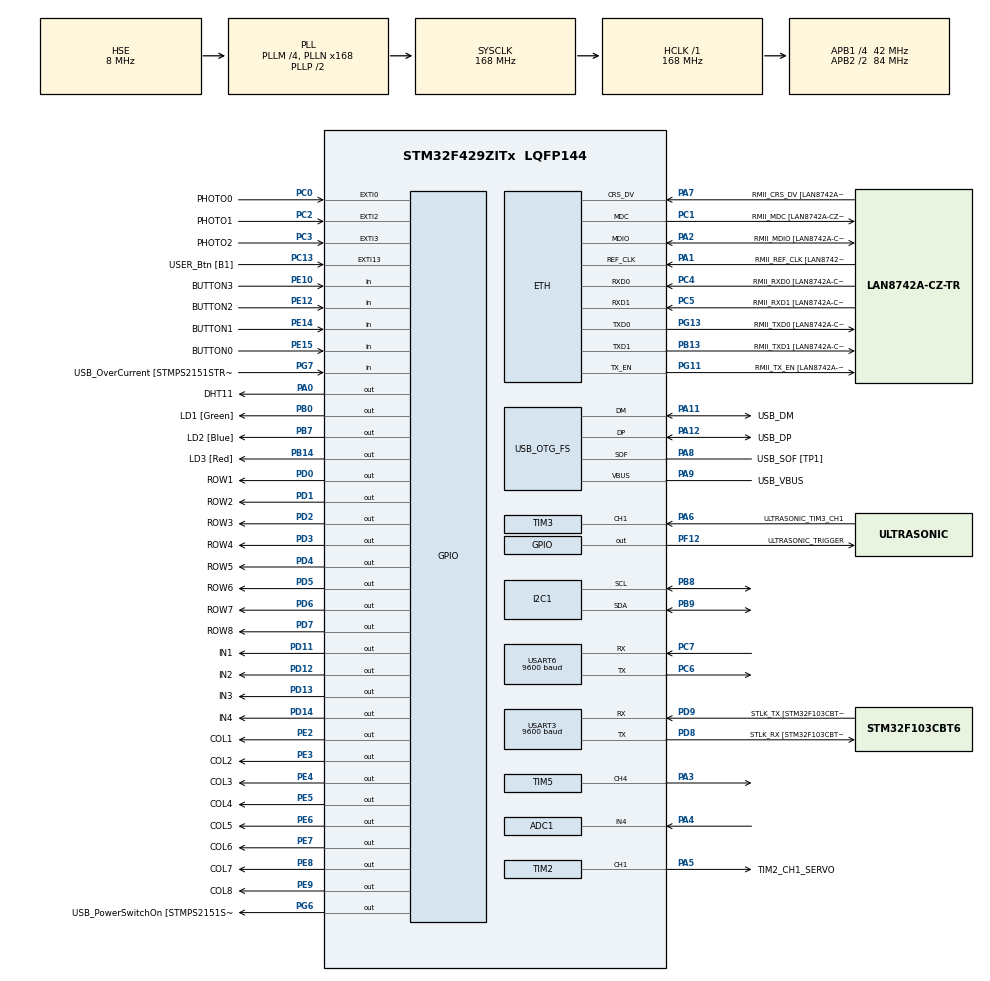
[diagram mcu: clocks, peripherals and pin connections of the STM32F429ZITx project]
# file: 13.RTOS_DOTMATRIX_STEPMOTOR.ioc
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ADC1.Channel-1\#ChannelRegularConversion=ADC_CHANNEL_4
ADC1.ContinuousConvMode=ENABLE
ADC1.NbrOfConversionFlag=1
ADC1.Rank-1\#ChannelRegularConversion=1
ADC1.SamplingTime-1\#ChannelRegularConversion=ADC_SAMPLETIME_480CYCLES
ADC1.master=1
ETH.MediaInterface=HAL_ETH_RMII_MODE
FREERTOS.Mutexes01=myMutex01,Dynamic,NULL
FREERTOS.Tasks01=defaultTask,24,128,StartDefaultTask,Default,NULL,Dynamic,NULL,NULL;Task1,8,128,Task1_func,Default,NULL,Dynamic,NULL,NULL;Task2,8,128,Task2_func,Default,NULL,Dynamic,NULL,NULL;Task3,8,128,Task3_func,Default,NULL,Dynamic,NULL,NULL
FREERTOS.configUSE_NEWLIB_REENTRANT=1
Mcu.Family=STM32F4
Mcu.Name=STM32F429ZITx
Mcu.Package=LQFP144
NVIC.ADC_IRQn=true\:5\:0\:false\:false\:true\:true\:true\:true\:true
NVIC.EXTI0_IRQn=true\:5\:0\:false\:false\:true\:true\:true\:true\:true
NVIC.EXTI2_IRQn=true\:5\:0\:false\:false\:true\:true\:true\:true\:true
NVIC.EXTI3_IRQn=true\:5\:0\:false\:false\:true\:true\:true\:true\:true
NVIC.PriorityGroup=NVIC_PRIORITYGROUP_4
NVIC.TIM1_TRG_COM_TIM11_IRQn=true\:5\:0\:false\:false\:true\:true\:true\:true\:true
NVIC.TIM1_UP_TIM10_IRQn=true\:5\:0\:false\:false\:true\:true\:true\:true\:true
NVIC.TIM2_IRQn=true\:5\:0\:false\:false\:true\:true\:true\:true\:true
NVIC.TIM3_IRQn=true\:5\:0\:false\:false\:true\:true\:true\:true\:true
NVIC.TIM4_IRQn=true\:5\:0\:false\:false\:true\:true\:true\:true\:true
NVIC.TIM5_IRQn=true\:5\:0\:false\:false\:true\:true\:true\:true\:true
NVIC.TIM6_DAC_IRQn=true\:15\:0\:false\:false\:true\:false\:false\:true\:true
NVIC.TimeBase=TIM6_DAC_IRQn
NVIC.TimeBaseIP=TIM6
NVIC.USART3_IRQn=true\:5\:0\:false\:false\:true\:true\:true\:true\:true
NVIC.USART6_IRQn=true\:5\:0\:false\:false\:true\:true\:true\:true\:true
PA0/WKUP.GPIO_Label=DHT11
PA0/WKUP.Signal=GPIO_Output
PA1.GPIO_Label=RMII_REF_CLK [LAN8742A-CZ-TR_REFCLK0]
PA1.Mode=RMII
PA1.Signal=ETH_REF_CLK
PA10.GPIO_Label=USB_ID
PA10.Signal=USB_OTG_FS_ID
PA11.GPIO_Label=USB_DM
PA11.Mode=Device_Only
PA11.Signal=USB_OTG_FS_DM
PA12.GPIO_Label=USB_DP
PA12.Mode=Device_Only
PA12.Signal=USB_OTG_FS_DP
PA13.GPIO_Label=TMS
PA13.Mode=Serial_Wire
PA13.Signal=SYS_JTMS-SWDIO
PA14.GPIO_Label=TCK
PA14.Mode=Serial_Wire
PA14.Signal=SYS_JTCK-SWCLK
PA2.GPIO_Label=RMII_MDIO [LAN8742A-CZ-TR_MDIO]
PA2.Mode=RMII
PA2.Signal=ETH_MDIO
PA3.Signal=S_TIM5_CH4
PA4.Signal=ADCx_IN4
PA5.GPIO_Label=TIM2_CH1_SERVO
PA5.Signal=S_TIM2_CH1_ETR
PA6.GPIO_Label=ULTRASONIC_TIM3_CH1
PA6.Signal=S_TIM3_CH1
PA7.GPIO_Label=RMII_CRS_DV [LAN8742A-CZ-TR_CRS_DV]
PA7.Mode=RMII
PA7.Signal=ETH_CRS_DV
PA8.GPIO_Label=USB_SOF [TP1]
PA8.Mode=Activate_SOF_FS
PA8.Signal=USB_OTG_FS_SOF
PA9.GPIO_Label=USB_VBUS
PA9.Mode=Activate_VBUS
PA9.Signal=USB_OTG_FS_VBUS
PB0.GPIO_Label=LD1 [Green]
PB0.Signal=GPIO_Output
PB13.GPIO_Label=RMII_TXD1 [LAN8742A-CZ-TR_TXD1]
PB13.Mode=RMII
PB13.Signal=ETH_TXD1
PB14.GPIO_Label=LD3 [Red]
PB14.Signal=GPIO_Output
PB7.GPIO_Label=LD2 [Blue]
PB7.Signal=GPIO_Output
PB8.Mode=I2C
PB8.Signal=I2C1_SCL
PB9.Mode=I2C
PB9.Signal=I2C1_SDA
PC0.GPIO_Label=PHOTO0
PC0.Signal=GPXTI0
PC1.GPIO_Label=RMII_MDC [LAN8742A-CZ-TR_MDC]
PC1.Mode=RMII
PC1.Signal=ETH_MDC
PC13.GPIO_Label=USER_Btn [B1]
PC13.Signal=GPXTI13
PC14/OSC32_IN.Mode=LSE-External-Oscillator
PC14/OSC32_IN.Signal=RCC_OSC32_IN
PC15/OSC32_OUT.Mode=LSE-External-Oscillator
PC15/OSC32_OUT.Signal=RCC_OSC32_OUT
PC2.GPIO_Label=PHOTO1
PC2.Signal=GPXTI2
PC3.GPIO_Label=PHOTO2
PC3.Signal=GPXTI3
PC4.GPIO_Label=RMII_RXD0 [LAN8742A-CZ-TR_RXD0]
PC4.Mode=RMII
PC4.Signal=ETH_RXD0
PC5.GPIO_Label=RMII_RXD1 [LAN8742A-CZ-TR_RXD1]
PC5.Mode=RMII
PC5.Signal=ETH_RXD1
PC6.Mode=Asynchronous
PC6.Signal=USART6_TX
PC7.Mode=Asynchronous
PC7.Signal=USART6_RX
PD0.GPIO_Label=ROW1
PD0.Signal=GPIO_Output
PD1.GPIO_Label=ROW2
PD1.Signal=GPIO_Output
PD11.GPIO_Label=IN1
PD11.Signal=GPIO_Output
PD12.GPIO_Label=IN2
PD12.Signal=GPIO_Output
PD13.GPIO_Label=IN3
PD13.Signal=GPIO_Output
PD14.GPIO_Label=IN4
PD14.Signal=GPIO_Output
PD2.GPIO_Label=ROW3
PD2.Signal=GPIO_Output
PD3.GPIO_Label=ROW4
PD3.Signal=GPIO_Output
PD4.GPIO_Label=ROW5
PD4.Signal=GPIO_Output
PD5.GPIO_Label=ROW6
PD5.Signal=GPIO_Output
PD6.GPIO_Label=ROW7
PD6.Signal=GPIO_Output
PD7.GPIO_Label=ROW8
PD7.Signal=GPIO_Output
PD8.GPIO_Label=STLK_RX [STM32F103CBT6_PA3]
PD8.Mode=Asynchronous
PD8.Signal=USART3_TX
PD9.GPIO_Label=STLK_TX [STM32F103CBT6_PA2]
PD9.Mode=Asynchronous
PD9.Signal=USART3_RX
PE10.GPIO_Label=BUTTON3
PE10.Signal=GPIO_Input
PE12.GPIO_Label=BUTTON2
PE12.Signal=GPIO_Input
PE14.GPIO_Label=BUTTON1
PE14.Signal=GPIO_Input
PE15.GPIO_Label=BUTTON0
PE15.Signal=GPIO_Input
PE2.GPIO_Label=COL1
PE2.Signal=GPIO_Output
PE3.GPIO_Label=COL2
PE3.Signal=GPIO_Output
PE4.GPIO_Label=COL3
PE4.Signal=GPIO_Output
PE5.GPIO_Label=COL4
PE5.Signal=GPIO_Output
PE6.GPIO_Label=COL5
PE6.Signal=GPIO_Output
PE7.GPIO_Label=COL6
PE7.Signal=GPIO_Output
PE8.GPIO_Label=COL7
PE8.Signal=GPIO_Output
PE9.GPIO_Label=COL8
PE9.Signal=GPIO_Output
PF12.GPIO_Label=ULTRASONIC_TRIGGER
PF12.Signal=GPIO_Output
PG11.GPIO_Label=RMII_TX_EN [LAN8742A-CZ-TR_TXEN]
PG11.Mode=RMII
PG11.Signal=ETH_TX_EN
PG13.GPIO_Label=RMII_TXD0 [LAN8742A-CZ-TR_TXD0]
PG13.Mode=RMII
PG13.Signal=ETH_TXD0
PG6.GPIO_Label=USB_PowerSwitchOn [STMPS2151STR_EN]
PG6.Signal=GPIO_Output
PG7.GPIO_Label=USB_OverCurrent [STMPS2151STR_FAULT]
PG7.Signal=GPIO_Input
PH0/OSC_IN.GPIO_Label=MCO [STM32F103CBT6_PA8]
PH0/OSC_IN.Mode=HSE-External-Clock-Source
PH0/OSC_IN.Signal=RCC_OSC_IN
PH1/OSC_OUT.Mode=HSE-External-Clock-Source
PH1/OSC_OUT.Signal=RCC_OSC_OUT
ProjectManager.HeapSize=0x200
ProjectManager.StackSize=0x400
ProjectManager.TargetToolchain=STM32CubeIDE
RCC.48MHZClocksFreq_Value=48000000
RCC.AHBFreq_Value=168000000
RCC.APB1CLKDivider=RCC_HCLK_DIV4
RCC.APB1Freq_Value=42000000
RCC.APB1TimFreq_Value=84000000
RCC.APB2CLKDivider=RCC_HCLK_DIV2
RCC.APB2Freq_Value=84000000
RCC.APB2TimCLKDivider=2
RCC.APB2TimFreq_Value=168000000
RCC.CortexFreq_Value=168000000
RCC.HCLKFreq_Value=168000000
RCC.HSE_VALUE=8000000
RCC.HSI_VALUE=16000000
RCC.PLLM=4
RCC.PLLMUL=RCC_PLL_MUL9
RCC.PLLN=168
RCC.PLLQ=7
RCC.PRESCALERUSB=RCC_USBCLKSOURCE_PLL_DIV1_5
RCC.SYSCLKFreq_VALUE=168000000
RCC.SYSCLKSource=RCC_SYSCLKSOURCE_PLLCLK
RCC.SYSCLKSourceVirtual=RCC_SYSCLKSOURCE_PLLCLK
RCC.USBFreq_Value=48000000
RCC.VCOOutputFreq_Value=336000000
RTC.Date=16
RTC.Hours=9
RTC.Minutes=38
RTC.Month=RTC_MONTH_OCTOBER
RTC.Year=23
SH.ADCx_IN4.0=ADC1_IN4,IN4
SH.S_TIM2_CH1_ETR.0=TIM2_CH1,PWM Generation1 CH1
SH.S_TIM3_CH1.0=TIM3_CH1,Input_Capture1_from_TI1
SH.S_TIM5_CH4.0=TIM5_CH4,PWM Generation4 CH4
TIM10.Period=10000-1
TIM10.Prescaler=168-1
TIM11.Prescaler=168-1
TIM2.Channel-PWM\ Generation1\ CH1=TIM_CHANNEL_1
TIM2.Period=1000-1
TIM2.Prescaler=1680-1
TIM2.Pulse-PWM\ Generation1\ CH1=500-1
TIM3.Channel-Input_Capture1_from_TI1=TIM_CHANNEL_1
TIM3.ICPolarity_CH1=TIM_INPUTCHANNELPOLARITY_BOTHEDGE
TIM3.Prescaler=84-1
TIM4.Period=100-1
TIM4.Prescaler=840-1
TIM5.Channel-PWM\ Generation4\ CH4=TIM_CHANNEL_4
TIM5.Period=400-1
TIM5.Prescaler=52.5-1
TIM5.Pulse-PWM\ Generation4\ CH4=200-1
USART3.BaudRate=9600
USART3.VirtualMode=VM_ASYNC
USART6.BaudRate=9600
USART6.VirtualMode=VM_ASYNC
USB_OTG_FS.VirtualMode=Device_Only
VP_FREERTOS_VS_CMSIS_V2.Mode=CMSIS_V2
VP_RTC_VS_RTC_Activate.Mode=RTC_Enabled
VP_RTC_VS_RTC_Calendar.Mode=RTC_Calendar
VP_SYS_VS_tim6.Mode=TIM6
VP_TIM10_VS_ClockSourceINT.Mode=Enable_Timer
VP_TIM11_VS_ClockSourceINT.Mode=Enable_Timer
VP_TIM4_VS_ClockSourceINT.Mode=Internal
VP_TIM5_VS_ClockSourceINT.Mode=Internal
board=NUCLEO-F429ZI

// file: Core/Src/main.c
/* USER CODE BEGIN Header */
/**
  ******************************************************************************
  * @file           : main.c
  * @brief          : Main program body
  ******************************************************************************
  * @attention
  *
  * Copyright (c) 2023 STMicroelectronics.
  * All rights reserved.
  *
  * This software is licensed under terms that can be found in the LICENSE file
  * in the root directory of this software component.
  * If no LICENSE file comes with this software, it is provided AS-IS.
  *
  ******************************************************************************
  */
/* USER CODE END Header */
#include "main.h"
#include "string.h"
#include "cmsis_os.h"

ETH_TxPacketConfig TxConfig;
ETH_DMADescTypeDef  DMARxDscrTab[ETH_RX_DESC_CNT]; /* Ethernet Rx DMA Descriptors */
ETH_DMADescTypeDef  DMATxDscrTab[ETH_TX_DESC_CNT]; /* Ethernet Tx DMA Descriptors */

ADC_HandleTypeDef hadc1;

ETH_HandleTypeDef heth;

I2C_HandleTypeDef hi2c1;

RTC_HandleTypeDef hrtc;

TIM_HandleTypeDef htim2;
TIM_HandleTypeDef htim3;
TIM_HandleTypeDef htim4;
TIM_HandleTypeDef htim5;
TIM_HandleTypeDef htim10;
TIM_HandleTypeDef htim11;

UART_HandleTypeDef huart3;
UART_HandleTypeDef huart6;

PCD_HandleTypeDef hpcd_USB_OTG_FS;

/* Definitions for defaultTask */
osThreadId_t defaultTaskHandle;
const osThreadAttr_t defaultTask_attributes = {
  .name = "defaultTask",
  .stack_size = 128 * 4,
  .priority = (osPriority_t) osPriorityNormal,
};
/* Definitions for Task1 */
osThreadId_t Task1Handle;
const osThreadAttr_t Task1_attributes = {
  .name = "Task1",
  .stack_size = 128 * 4,
  .priority = (osPriority_t) osPriorityLow,
};
/* Definitions for Task2 */
osThreadId_t Task2Handle;
const osThreadAttr_t Task2_attributes = {
  .name = "Task2",
  .stack_size = 128 * 4,
  .priority = (osPriority_t) osPriorityLow,
};
/* Definitions for Task3 */
osThreadId_t Task3Handle;
const osThreadAttr_t Task3_attributes = {
  .name = "Task3",
  .stack_size = 128 * 4,
  .priority = (osPriority_t) osPriorityLow,
};
/* Definitions for myMutex01 */
osMutexId_t myMutex01Handle;
const osMutexAttr_t myMutex01_attributes = {
  .name = "myMutex01"
};
/* USER CODE BEGIN PV */
uint8_t rx_data;   // uart3 rx data
uint8_t bt_rx_data;   // uart6 bt rx data
volatile int TIM10_10ms_counter=0;
volatile int TIM10_10ms_ultrasonic=0;
/* USER CODE END PV */

void SystemClock_Config(void);
static void MX_GPIO_Init(void);
static void MX_USART3_UART_Init(void);
static void MX_USB_OTG_FS_PCD_Init(void);
static void MX_USART6_UART_Init(void);
static void MX_TIM10_Init(void);
static void MX_TIM11_Init(void);
static void MX_TIM3_Init(void);
static void MX_TIM4_Init(void);
static void MX_TIM2_Init(void);
static void MX_RTC_Init(void);
static void MX_TIM5_Init(void);
static void MX_I2C1_Init(void);
static void MX_ADC1_Init(void);
static void MX_ETH_Init(void);
void StartDefaultTask(void *argument);
void Task1_func(void *argument);
void Task2_func(void *argument);
void Task3_func(void *argument);

/* USER CODE BEGIN PFP */
extern void led_main(void);
extern void pc_command_processing(void);
extern void bt_command_processing(void);
extern void DHT11_main(void);
extern void DHT11_Init(void);
extern void DHT11_processing(void);
extern void ultrasonic_processing(void);
extern void i2c_lcd_main(void);
extern void i2c_lcd_init(void);
extern void lcd_string(uint8_t *str);
extern void move_cursor(uint8_t row, uint8_t column);
extern void dcmotor_pwm_control(void);
extern void servo_motor_test_main(void);
extern void get_rtc(void);
extern void lcd_display_mode_select(void);
extern void set_time_button_ui(void);
extern void buzzer_main();

extern int dotmatrix_main_test(void);
extern void stepmotor_main_test(void);

void delay_us(unsigned long us);	// --> stepmotor.c
/* USER CODE END PFP */

/* USER CODE BEGIN 0 */
//---------------
// call by SysTick_Handler of stm32f4xx_it.c
// ARM default timer
// enter here every 1ms
volatile int t1ms_counter=0;  // volatile : for disable optimize
void HAL_SYSTICK_Handler(void)
{
	t1ms_counter++;   // 1ms timer
}
//----------  printf start ----------
#ifdef __GNUC__
/* With GCC, small printf (option LD Linker->Libraries->Small printf
   set to 'Yes') calls __io_putchar() */
#define PUTCHAR_PROTOTYPE int __io_putchar(int ch)
#else
#define PUTCHAR_PROTOTYPE int fputc(int ch, FILE *f)
#endif /* __GNUC_ */
/**
  * @brief  Retargets the C library printf function to the USART.
  * @param  None
  * @retval None
  */
PUTCHAR_PROTOTYPE   // Add for printf
{
  /* Place your implementation of fputc here */
  /* e.g. write a character to the USART3 and Loop until the end of transmission */
  HAL_UART_Transmit(&huart3, (uint8_t *)&ch, 1, 0xFFFF);

  return ch;
}
//----------  printf end ----------

void delay_us(unsigned long us)
{
	__HAL_TIM_SET_COUNTER(&htim11,0);   // tim11 clear
	while(__HAL_TIM_GET_COUNTER(&htim11) < us)
		;
}

// 1. move from Drivers/STM32F4xx_HAL_Driver/Src/stm32f4xx_hal_gpio.c
// 2. enter here every external interrupt
volatile int ext_int_no = -1;	// for comparing with GPIO_Pin0
void HAL_GPIO_EXTI_Callback(uint16_t GPIO_Pin)
{
	switch(GPIO_Pin)
	{
	case PHOTO0_Pin:
		ext_int_no = GPIO_Pin;
		HAL_GPIO_TogglePin(GPIOB, GPIO_PIN_0);   // LED1
		break;
	case PHOTO1_Pin:
		ext_int_no = GPIO_Pin;
		HAL_GPIO_TogglePin(GPIOB, GPIO_PIN_7);   // LED2
		break;
	case PHOTO2_Pin:
		ext_int_no = GPIO_Pin;
		HAL_GPIO_TogglePin(GPIOB, GPIO_PIN_14);   // LED3
		break;
	}
}

uint16_t adcValue[4];
void HAL_ADC_ConvCpltCallback(ADC_HandleTypeDef* hadc)
{
	if (hadc->Instance == ADC1)
	{
		adcValue[0] = HAL_ADC_GetValue(&hadc1);
		HAL_ADC_Start_IT(&hadc1);
	}
}

/* USER CODE END 0 */

int main(void)
{

  /* MCU Configuration--------------------------------------------------------*/

  /* Reset of all peripherals, Initializes the Flash interface and the Systick. */
  HAL_Init();

  /* Configure the system clock */
  SystemClock_Config();

  /* Initialize all configured peripherals */
  MX_GPIO_Init();
  MX_USART3_UART_Init();
  MX_USB_OTG_FS_PCD_Init();
  MX_USART6_UART_Init();
  MX_TIM10_Init();
  MX_TIM11_Init();
  MX_TIM3_Init();
  MX_TIM4_Init();
  MX_TIM2_Init();
  MX_RTC_Init();
  MX_TIM5_Init();
  MX_I2C1_Init();
  MX_ADC1_Init();
  MX_ETH_Init();
  /* USER CODE BEGIN 2 */
  HAL_UART_Receive_IT(&huart3, &rx_data, 1);   // assing to RX INT
  HAL_UART_Receive_IT(&huart6, &bt_rx_data, 1);   // for BT assing to RX INT
  HAL_TIM_Base_Start_IT(&htim10);   // ADD_SIKWON_1011
  HAL_TIM_Base_Start_IT(&htim11);   // ADD_SIKWON_1011
  HAL_TIM_IC_Start_IT(&htim3, TIM_CHANNEL_1);   // for count pulse(rising edge & falling edge)
  HAL_TIM_PWM_Start_IT(&htim4, TIM_CHANNEL_1);  // for DC motor PWM control
  HAL_TIM_PWM_Start(&htim2, TIM_CHANNEL_1);   // for SERVO motor PWM control
  HAL_TIM_PWM_Start(&htim5, TIM_CHANNEL_4);   // PIEZO Buzzer
  HAL_ADC_Start_IT(&hadc1);	// Start

//  DHT11_Init();
  i2c_lcd_init();			// remove//

  TIM10_10ms_counter=0;
  init_dotmatrix();			// add
//  dotmatrix_main_test();
//  stepmotor_main_test();

//  led_main();				// for button_LED toggle
//  DHT11_main();
//  i2c_lcd_main();
//  servo_motor_test_main();
//    buzzer_main();

  /* USER CODE END 2 */

  /* Init scheduler */
  osKernelInitialize();
  /* Create the mutex(es) */
  /* creation of myMutex01 */
  myMutex01Handle = osMutexNew(&myMutex01_attributes);

  /* Create the thread(s) */
  /* creation of defaultTask */
  defaultTaskHandle = osThreadNew(StartDefaultTask, NULL, &defaultTask_attributes);

  /* creation of Task1 */
  Task1Handle = osThreadNew(Task1_func, NULL, &Task1_attributes);

  /* creation of Task2 */
  Task2Handle = osThreadNew(Task2_func, NULL, &Task2_attributes);

  /* creation of Task3 */
  Task3Handle = osThreadNew(Task3_func, NULL, &Task3_attributes);

  /* Start scheduler */
  osKernelStart();
  /* We should never get here as control is now taken by the scheduler */
  /* Infinite loop */
  /* USER CODE BEGIN WHILE */
  while (1)
  {
	  printf("cds sensor : %d\n", adcValue[0]);
	  if (adcValue[0] < 2500 )
	  {
		  //nucleo_stm32429zi_led_on();
		  HAL_GPIO_TogglePin(GPIOB, GPIO_PIN_1);   // LED1
	  }
	  else
	  {
		  //nucleo_stm32429zi_led_off();
		  HAL_GPIO_TogglePin(GPIOB, GPIO_PIN_0);   // LED1
	  }
	  HAL_Delay(10); 	//10ms
/*
	DHT11_processing();
 	pc_command_processing();
 	bt_command_processing();
 	ultrasonic_processing();
 	dcmotor_pwm_control();
 	get_rtc();
 	lcd_display_mode_select();
 	set_time_button_ui();
*/
    /* USER CODE END WHILE */

  }
}

void SystemClock_Config(void)
{
  RCC_OscInitTypeDef RCC_OscInitStruct = {0};
  RCC_ClkInitTypeDef RCC_ClkInitStruct = {0};

  /** Configure the main internal regulator output voltage
  */
  __HAL_RCC_PWR_CLK_ENABLE();
  __HAL_PWR_VOLTAGESCALING_CONFIG(PWR_REGULATOR_VOLTAGE_SCALE1);

  /** Initializes the RCC Oscillators according to the specified parameters
  * in the RCC_OscInitTypeDef structure.
  */
  RCC_OscInitStruct.OscillatorType = RCC_OSCILLATORTYPE_LSI|RCC_OSCILLATORTYPE_HSE;
  RCC_OscInitStruct.HSEState = RCC_HSE_BYPASS;
  RCC_OscInitStruct.LSIState = RCC_LSI_ON;
  RCC_OscInitStruct.PLL.PLLState = RCC_PLL_ON;
  RCC_OscInitStruct.PLL.PLLSource = RCC_PLLSOURCE_HSE;
  RCC_OscInitStruct.PLL.PLLM = 4;
  RCC_OscInitStruct.PLL.PLLN = 168;
  RCC_OscInitStruct.PLL.PLLP = RCC_PLLP_DIV2;
  RCC_OscInitStruct.PLL.PLLQ = 7;
  if (HAL_RCC_OscConfig(&RCC_OscInitStruct) != HAL_OK)
  {
    Error_Handler();
  }

  /** Initializes the CPU, AHB and APB buses clocks
  */
  RCC_ClkInitStruct.ClockType = RCC_CLOCKTYPE_HCLK|RCC_CLOCKTYPE_SYSCLK
                              |RCC_CLOCKTYPE_PCLK1|RCC_CLOCKTYPE_PCLK2;
  RCC_ClkInitStruct.SYSCLKSource = RCC_SYSCLKSOURCE_PLLCLK;
  RCC_ClkInitStruct.AHBCLKDivider = RCC_SYSCLK_DIV1;
  RCC_ClkInitStruct.APB1CLKDivider = RCC_HCLK_DIV4;
  RCC_ClkInitStruct.APB2CLKDivider = RCC_HCLK_DIV2;

  if (HAL_RCC_ClockConfig(&RCC_ClkInitStruct, FLASH_LATENCY_5) != HAL_OK)
  {
    Error_Handler();
  }
}

static void MX_ADC1_Init(void)
{

  ADC_ChannelConfTypeDef sConfig = {0};

  /** Configure the global features of the ADC (Clock, Resolution, Data Alignment and number of conversion)
  */
  hadc1.Instance = ADC1;
  hadc1.Init.ClockPrescaler = ADC_CLOCK_SYNC_PCLK_DIV4;
  hadc1.Init.Resolution = ADC_RESOLUTION_12B;
  hadc1.Init.ScanConvMode = DISABLE;
  hadc1.Init.ContinuousConvMode = ENABLE;
  hadc1.Init.DiscontinuousConvMode = DISABLE;
  hadc1.Init.ExternalTrigConvEdge = ADC_EXTERNALTRIGCONVEDGE_NONE;
  hadc1.Init.ExternalTrigConv = ADC_SOFTWARE_START;
  hadc1.Init.DataAlign = ADC_DATAALIGN_RIGHT;
  hadc1.Init.NbrOfConversion = 1;
  hadc1.Init.DMAContinuousRequests = DISABLE;
  hadc1.Init.EOCSelection = ADC_EOC_SINGLE_CONV;
  if (HAL_ADC_Init(&hadc1) != HAL_OK)
  {
    Error_Handler();
  }

  /** Configure for the selected ADC regular channel its corresponding rank in the sequencer and its sample time.
  */
  sConfig.Channel = ADC_CHANNEL_4;
  sConfig.Rank = 1;
  sConfig.SamplingTime = ADC_SAMPLETIME_480CYCLES;
  if (HAL_ADC_ConfigChannel(&hadc1, &sConfig) != HAL_OK)
  {
    Error_Handler();
  }

}

static void MX_ETH_Init(void)
{

   static uint8_t MACAddr[6];

  heth.Instance = ETH;
  MACAddr[0] = 0x00;
  MACAddr[1] = 0x80;
  MACAddr[2] = 0xE1;
  MACAddr[3] = 0x00;
  MACAddr[4] = 0x00;
  MACAddr[5] = 0x00;
  heth.Init.MACAddr = &MACAddr[0];
  heth.Init.MediaInterface = HAL_ETH_RMII_MODE;
  heth.Init.TxDesc = DMATxDscrTab;
  heth.Init.RxDesc = DMARxDscrTab;
  heth.Init.RxBuffLen = 1524;

  if (HAL_ETH_Init(&heth) != HAL_OK)
  {
    Error_Handler();
  }

  memset(&TxConfig, 0 , sizeof(ETH_TxPacketConfig));
  TxConfig.Attributes = ETH_TX_PACKETS_FEATURES_CSUM | ETH_TX_PACKETS_FEATURES_CRCPAD;
  TxConfig.ChecksumCtrl = ETH_CHECKSUM_IPHDR_PAYLOAD_INSERT_PHDR_CALC;
  TxConfig.CRCPadCtrl = ETH_CRC_PAD_INSERT;

}

static void MX_I2C1_Init(void)
{

  hi2c1.Instance = I2C1;
  hi2c1.Init.ClockSpeed = 100000;
  hi2c1.Init.DutyCycle = I2C_DUTYCYCLE_2;
  hi2c1.Init.OwnAddress1 = 0;
  hi2c1.Init.AddressingMode = I2C_ADDRESSINGMODE_7BIT;
  hi2c1.Init.DualAddressMode = I2C_DUALADDRESS_DISABLE;
  hi2c1.Init.OwnAddress2 = 0;
  hi2c1.Init.GeneralCallMode = I2C_GENERALCALL_DISABLE;
  hi2c1.Init.NoStretchMode = I2C_NOSTRETCH_DISABLE;
  if (HAL_I2C_Init(&hi2c1) != HAL_OK)
  {
    Error_Handler();
  }

  /** Configure Analogue filter
  */
  if (HAL_I2CEx_ConfigAnalogFilter(&hi2c1, I2C_ANALOGFILTER_ENABLE) != HAL_OK)
  {
    Error_Handler();
  }

  /** Configure Digital filter
  */
  if (HAL_I2CEx_ConfigDigitalFilter(&hi2c1, 0) != HAL_OK)
  {
    Error_Handler();
  }

}

static void MX_RTC_Init(void)
{

  RTC_TimeTypeDef sTime = {0};
  RTC_DateTypeDef sDate = {0};

  /** Initialize RTC Only
  */
  hrtc.Instance = RTC;
  hrtc.Init.HourFormat = RTC_HOURFORMAT_24;
  hrtc.Init.AsynchPrediv = 127;
  hrtc.Init.SynchPrediv = 255;
  hrtc.Init.OutPut = RTC_OUTPUT_DISABLE;
  hrtc.Init.OutPutPolarity = RTC_OUTPUT_POLARITY_HIGH;
  hrtc.Init.OutPutType = RTC_OUTPUT_TYPE_OPENDRAIN;
  if (HAL_RTC_Init(&hrtc) != HAL_OK)
  {
    Error_Handler();
  }

  /** Initialize RTC and set the Time and Date
  */
  sTime.Hours = 0x9;
  sTime.Minutes = 0x38;
  sTime.Seconds = 0x0;
  sTime.DayLightSaving = RTC_DAYLIGHTSAVING_NONE;
  sTime.StoreOperation = RTC_STOREOPERATION_RESET;
  if (HAL_RTC_SetTime(&hrtc, &sTime, RTC_FORMAT_BCD) != HAL_OK)
  {
    Error_Handler();
  }
  sDate.WeekDay = RTC_WEEKDAY_MONDAY;
  sDate.Month = RTC_MONTH_OCTOBER;
  sDate.Date = 0x16;
  sDate.Year = 0x23;

  if (HAL_RTC_SetDate(&hrtc, &sDate, RTC_FORMAT_BCD) != HAL_OK)
  {
    Error_Handler();
  }

}

static void MX_TIM2_Init(void)
{

  TIM_MasterConfigTypeDef sMasterConfig = {0};
  TIM_OC_InitTypeDef sConfigOC = {0};

  htim2.Instance = TIM2;
  htim2.Init.Prescaler = 1680-1;
  htim2.Init.CounterMode = TIM_COUNTERMODE_UP;
  htim2.Init.Period = 1000-1;
  htim2.Init.ClockDivision = TIM_CLOCKDIVISION_DIV1;
  htim2.Init.AutoReloadPreload = TIM_AUTORELOAD_PRELOAD_DISABLE;
  if (HAL_TIM_PWM_Init(&htim2) != HAL_OK)
  {
    Error_Handler();
  }
  sMasterConfig.MasterOutputTrigger = TIM_TRGO_RESET;
  sMasterConfig.MasterSlaveMode = TIM_MASTERSLAVEMODE_DISABLE;
  if (HAL_TIMEx_MasterConfigSynchronization(&htim2, &sMasterConfig) != HAL_OK)
  {
    Error_Handler();
  }
  sConfigOC.OCMode = TIM_OCMODE_PWM1;
  sConfigOC.Pulse = 500-1;
  sConfigOC.OCPolarity = TIM_OCPOLARITY_HIGH;
  sConfigOC.OCFastMode = TIM_OCFAST_DISABLE;
  if (HAL_TIM_PWM_ConfigChannel(&htim2, &sConfigOC, TIM_CHANNEL_1) != HAL_OK)
  {
    Error_Handler();
  }
  HAL_TIM_MspPostInit(&htim2);

}

static void MX_TIM3_Init(void)
{

  TIM_MasterConfigTypeDef sMasterConfig = {0};
  TIM_IC_InitTypeDef sConfigIC = {0};

  htim3.Instance = TIM3;
  htim3.Init.Prescaler = 84-1;
  htim3.Init.CounterMode = TIM_COUNTERMODE_UP;
  htim3.Init.Period = 65535;
  htim3.Init.ClockDivision = TIM_CLOCKDIVISION_DIV1;
  htim3.Init.AutoReloadPreload = TIM_AUTORELOAD_PRELOAD_DISABLE;
  if (HAL_TIM_IC_Init(&htim3) != HAL_OK)
  {
    Error_Handler();
  }
  sMasterConfig.MasterOutputTrigger = TIM_TRGO_RESET;
  sMasterConfig.MasterSlaveMode = TIM_MASTERSLAVEMODE_DISABLE;
  if (HAL_TIMEx_MasterConfigSynchronization(&htim3, &sMasterConfig) != HAL_OK)
  {
    Error_Handler();
  }
  sConfigIC.ICPolarity = TIM_INPUTCHANNELPOLARITY_BOTHEDGE;
  sConfigIC.ICSelection = TIM_ICSELECTION_DIRECTTI;
  sConfigIC.ICPrescaler = TIM_ICPSC_DIV1;
  sConfigIC.ICFilter = 0;
  if (HAL_TIM_IC_ConfigChannel(&htim3, &sConfigIC, TIM_CHANNEL_1) != HAL_OK)
  {
    Error_Handler();
  }

}

static void MX_TIM4_Init(void)
{

  TIM_ClockConfigTypeDef sClockSourceConfig = {0};
  TIM_MasterConfigTypeDef sMasterConfig = {0};

  htim4.Instance = TIM4;
  htim4.Init.Prescaler = 840-1;
  htim4.Init.CounterMode = TIM_COUNTERMODE_UP;
  htim4.Init.Period = 100-1;
  htim4.Init.ClockDivision = TIM_CLOCKDIVISION_DIV1;
  htim4.Init.AutoReloadPreload = TIM_AUTORELOAD_PRELOAD_DISABLE;
  if (HAL_TIM_Base_Init(&htim4) != HAL_OK)
  {
    Error_Handler();
  }
  sClockSourceConfig.ClockSource = TIM_CLOCKSOURCE_INTERNAL;
  if (HAL_TIM_ConfigClockSource(&htim4, &sClockSourceConfig) != HAL_OK)
  {
    Error_Handler();
  }
  sMasterConfig.MasterOutputTrigger = TIM_TRGO_RESET;
  sMasterConfig.MasterSlaveMode = TIM_MASTERSLAVEMODE_DISABLE;
  if (HAL_TIMEx_MasterConfigSynchronization(&htim4, &sMasterConfig) != HAL_OK)
  {
    Error_Handler();
  }

}

static void MX_TIM5_Init(void)
{

  TIM_ClockConfigTypeDef sClockSourceConfig = {0};
  TIM_MasterConfigTypeDef sMasterConfig = {0};
  TIM_OC_InitTypeDef sConfigOC = {0};

  htim5.Instance = TIM5;
  htim5.Init.Prescaler = 52.5-1;
  htim5.Init.CounterMode = TIM_COUNTERMODE_UP;
  htim5.Init.Period = 400-1;
  htim5.Init.ClockDivision = TIM_CLOCKDIVISION_DIV1;
  htim5.Init.AutoReloadPreload = TIM_AUTORELOAD_PRELOAD_DISABLE;
  if (HAL_TIM_Base_Init(&htim5) != HAL_OK)
  {
    Error_Handler();
  }
  sClockSourceConfig.ClockSource = TIM_CLOCKSOURCE_INTERNAL;
  if (HAL_TIM_ConfigClockSource(&htim5, &sClockSourceConfig) != HAL_OK)
  {
    Error_Handler();
  }
  if (HAL_TIM_PWM_Init(&htim5) != HAL_OK)
  {
    Error_Handler();
  }
  sMasterConfig.MasterOutputTrigger = TIM_TRGO_RESET;
  sMasterConfig.MasterSlaveMode = TIM_MASTERSLAVEMODE_DISABLE;
  if (HAL_TIMEx_MasterConfigSynchronization(&htim5, &sMasterConfig) != HAL_OK)
  {
    Error_Handler();
  }
  sConfigOC.OCMode = TIM_OCMODE_PWM1;
  sConfigOC.Pulse = 200-1;
  sConfigOC.OCPolarity = TIM_OCPOLARITY_HIGH;
  sConfigOC.OCFastMode = TIM_OCFAST_DISABLE;
  if (HAL_TIM_PWM_ConfigChannel(&htim5, &sConfigOC, TIM_CHANNEL_4) != HAL_OK)
  {
    Error_Handler();
  }
  HAL_TIM_MspPostInit(&htim5);

}

static void MX_TIM10_Init(void)
{

  htim10.Instance = TIM10;
  htim10.Init.Prescaler = 168-1;
  htim10.Init.CounterMode = TIM_COUNTERMODE_UP;
  htim10.Init.Period = 10000-1;
  htim10.Init.ClockDivision = TIM_CLOCKDIVISION_DIV1;
  htim10.Init.AutoReloadPreload = TIM_AUTORELOAD_PRELOAD_DISABLE;
  if (HAL_TIM_Base_Init(&htim10) != HAL_OK)
  {
    Error_Handler();
  }

}

static void MX_TIM11_Init(void)
{

  htim11.Instance = TIM11;
  htim11.Init.Prescaler = 168-1;
  htim11.Init.CounterMode = TIM_COUNTERMODE_UP;
  htim11.Init.Period = 65535;
  htim11.Init.ClockDivision = TIM_CLOCKDIVISION_DIV1;
  htim11.Init.AutoReloadPreload = TIM_AUTORELOAD_PRELOAD_DISABLE;
  if (HAL_TIM_Base_Init(&htim11) != HAL_OK)
  {
    Error_Handler();
  }

}

static void MX_USART3_UART_Init(void)
{

  huart3.Instance = USART3;
  huart3.Init.BaudRate = 9600;
  huart3.Init.WordLength = UART_WORDLENGTH_8B;
  huart3.Init.StopBits = UART_STOPBITS_1;
  huart3.Init.Parity = UART_PARITY_NONE;
  huart3.Init.Mode = UART_MODE_TX_RX;
  huart3.Init.HwFlowCtl = UART_HWCONTROL_NONE;
  huart3.Init.OverSampling = UART_OVERSAMPLING_16;
  if (HAL_UART_Init(&huart3) != HAL_OK)
  {
    Error_Handler();
  }

}

static void MX_USART6_UART_Init(void)
{

  huart6.Instance = USART6;
  huart6.Init.BaudRate = 9600;
  huart6.Init.WordLength = UART_WORDLENGTH_8B;
  huart6.Init.StopBits = UART_STOPBITS_1;
  huart6.Init.Parity = UART_PARITY_NONE;
  huart6.Init.Mode = UART_MODE_TX_RX;
  huart6.Init.HwFlowCtl = UART_HWCONTROL_NONE;
  huart6.Init.OverSampling = UART_OVERSAMPLING_16;
  if (HAL_UART_Init(&huart6) != HAL_OK)
  {
    Error_Handler();
  }

}

static void MX_USB_OTG_FS_PCD_Init(void)
{

  hpcd_USB_OTG_FS.Instance = USB_OTG_FS;
  hpcd_USB_OTG_FS.Init.dev_endpoints = 4;
  hpcd_USB_OTG_FS.Init.speed = PCD_SPEED_FULL;
  hpcd_USB_OTG_FS.Init.dma_enable = DISABLE;
  hpcd_USB_OTG_FS.Init.phy_itface = PCD_PHY_EMBEDDED;
  hpcd_USB_OTG_FS.Init.Sof_enable = ENABLE;
  hpcd_USB_OTG_FS.Init.low_power_enable = DISABLE;
  hpcd_USB_OTG_FS.Init.lpm_enable = DISABLE;
  hpcd_USB_OTG_FS.Init.vbus_sensing_enable = ENABLE;
  hpcd_USB_OTG_FS.Init.use_dedicated_ep1 = DISABLE;
  if (HAL_PCD_Init(&hpcd_USB_OTG_FS) != HAL_OK)
  {
    Error_Handler();
  }

}

static void MX_GPIO_Init(void)
{
  GPIO_InitTypeDef GPIO_InitStruct = {0};

  /* GPIO Ports Clock Enable */
  __HAL_RCC_GPIOE_CLK_ENABLE();
  __HAL_RCC_GPIOC_CLK_ENABLE();
  __HAL_RCC_GPIOH_CLK_ENABLE();
  __HAL_RCC_GPIOA_CLK_ENABLE();
  __HAL_RCC_GPIOB_CLK_ENABLE();
  __HAL_RCC_GPIOF_CLK_ENABLE();
  __HAL_RCC_GPIOD_CLK_ENABLE();
  __HAL_RCC_GPIOG_CLK_ENABLE();

  /*Configure GPIO pin Output Level */
  HAL_GPIO_WritePin(GPIOE, COL1_Pin|COL2_Pin|COL3_Pin|COL4_Pin
                          |COL5_Pin|COL6_Pin|COL7_Pin|COL8_Pin, GPIO_PIN_RESET);

  /*Configure GPIO pin Output Level */
  HAL_GPIO_WritePin(DHT11_GPIO_Port, DHT11_Pin, GPIO_PIN_RESET);

  /*Configure GPIO pin Output Level */
  HAL_GPIO_WritePin(GPIOB, LD1_Pin|LD3_Pin|LD2_Pin, GPIO_PIN_RESET);

  /*Configure GPIO pin Output Level */
  HAL_GPIO_WritePin(ULTRASONIC_TRIGGER_GPIO_Port, ULTRASONIC_TRIGGER_Pin, GPIO_PIN_RESET);

  /*Configure GPIO pin Output Level */
  HAL_GPIO_WritePin(GPIOD, IN1_Pin|IN2_Pin|IN3_Pin|IN4_Pin
                          |ROW1_Pin|ROW2_Pin|ROW3_Pin|ROW4_Pin
                          |ROW5_Pin|ROW6_Pin|ROW7_Pin|ROW8_Pin, GPIO_PIN_RESET);

  /*Configure GPIO pin Output Level */
  HAL_GPIO_WritePin(USB_PowerSwitchOn_GPIO_Port, USB_PowerSwitchOn_Pin, GPIO_PIN_RESET);

  /*Configure GPIO pins : COL1_Pin COL2_Pin COL3_Pin COL4_Pin
                           COL5_Pin COL6_Pin COL7_Pin COL8_Pin */
  GPIO_InitStruct.Pin = COL1_Pin|COL2_Pin|COL3_Pin|COL4_Pin
                          |COL5_Pin|COL6_Pin|COL7_Pin|COL8_Pin;
  GPIO_InitStruct.Mode = GPIO_MODE_OUTPUT_PP;
  GPIO_InitStruct.Pull = GPIO_NOPULL;
  GPIO_InitStruct.Speed = GPIO_SPEED_FREQ_LOW;
  HAL_GPIO_Init(GPIOE, &GPIO_InitStruct);

  /*Configure GPIO pins : USER_Btn_Pin PHOTO0_Pin PHOTO1_Pin PHOTO2_Pin */
  GPIO_InitStruct.Pin = USER_Btn_Pin|PHOTO0_Pin|PHOTO1_Pin|PHOTO2_Pin;
  GPIO_InitStruct.Mode = GPIO_MODE_IT_RISING;
  GPIO_InitStruct.Pull = GPIO_NOPULL;
  HAL_GPIO_Init(GPIOC, &GPIO_InitStruct);

  /*Configure GPIO pin : DHT11_Pin */
  GPIO_InitStruct.Pin = DHT11_Pin;
  GPIO_InitStruct.Mode = GPIO_MODE_OUTPUT_PP;
  GPIO_InitStruct.Pull = GPIO_NOPULL;
  GPIO_InitStruct.Speed = GPIO_SPEED_FREQ_LOW;
  HAL_GPIO_Init(DHT11_GPIO_Port, &GPIO_InitStruct);

  /*Configure GPIO pins : LD1_Pin LD3_Pin LD2_Pin */
  GPIO_InitStruct.Pin = LD1_Pin|LD3_Pin|LD2_Pin;
  GPIO_InitStruct.Mode = GPIO_MODE_OUTPUT_PP;
  GPIO_InitStruct.Pull = GPIO_NOPULL;
  GPIO_InitStruct.Speed = GPIO_SPEED_FREQ_LOW;
  HAL_GPIO_Init(GPIOB, &GPIO_InitStruct);

  /*Configure GPIO pin : ULTRASONIC_TRIGGER_Pin */
  GPIO_InitStruct.Pin = ULTRASONIC_TRIGGER_Pin;
  GPIO_InitStruct.Mode = GPIO_MODE_OUTPUT_PP;
  GPIO_InitStruct.Pull = GPIO_NOPULL;
  GPIO_InitStruct.Speed = GPIO_SPEED_FREQ_LOW;
  HAL_GPIO_Init(ULTRASONIC_TRIGGER_GPIO_Port, &GPIO_InitStruct);

  /*Configure GPIO pins : BUTTON3_Pin BUTTON2_Pin BUTTON1_Pin BUTTON0_Pin */
  GPIO_InitStruct.Pin = BUTTON3_Pin|BUTTON2_Pin|BUTTON1_Pin|BUTTON0_Pin;
  GPIO_InitStruct.Mode = GPIO_MODE_INPUT;
  GPIO_InitStruct.Pull = GPIO_NOPULL;
  HAL_GPIO_Init(GPIOE, &GPIO_InitStruct);

  /*Configure GPIO pins : IN1_Pin IN2_Pin IN3_Pin IN4_Pin
                           ROW1_Pin ROW2_Pin ROW3_Pin ROW4_Pin
                           ROW5_Pin ROW6_Pin ROW7_Pin ROW8_Pin */
  GPIO_InitStruct.Pin = IN1_Pin|IN2_Pin|IN3_Pin|IN4_Pin
                          |ROW1_Pin|ROW2_Pin|ROW3_Pin|ROW4_Pin
                          |ROW5_Pin|ROW6_Pin|ROW7_Pin|ROW8_Pin;
  GPIO_InitStruct.Mode = GPIO_MODE_OUTPUT_PP;
  GPIO_InitStruct.Pull = GPIO_NOPULL;
  GPIO_InitStruct.Speed = GPIO_SPEED_FREQ_LOW;
  HAL_GPIO_Init(GPIOD, &GPIO_InitStruct);

  /*Configure GPIO pin : USB_PowerSwitchOn_Pin */
  GPIO_InitStruct.Pin = USB_PowerSwitchOn_Pin;
  GPIO_InitStruct.Mode = GPIO_MODE_OUTPUT_PP;
  GPIO_InitStruct.Pull = GPIO_NOPULL;
  GPIO_InitStruct.Speed = GPIO_SPEED_FREQ_LOW;
  HAL_GPIO_Init(USB_PowerSwitchOn_GPIO_Port, &GPIO_InitStruct);

  /*Configure GPIO pin : USB_OverCurrent_Pin */
  GPIO_InitStruct.Pin = USB_OverCurrent_Pin;
  GPIO_InitStruct.Mode = GPIO_MODE_INPUT;
  GPIO_InitStruct.Pull = GPIO_NOPULL;
  HAL_GPIO_Init(USB_OverCurrent_GPIO_Port, &GPIO_InitStruct);

  /* EXTI interrupt init*/
  HAL_NVIC_SetPriority(EXTI0_IRQn, 5, 0);
  HAL_NVIC_EnableIRQ(EXTI0_IRQn);

  HAL_NVIC_SetPriority(EXTI2_IRQn, 5, 0);
  HAL_NVIC_EnableIRQ(EXTI2_IRQn);

  HAL_NVIC_SetPriority(EXTI3_IRQn, 5, 0);
  HAL_NVIC_EnableIRQ(EXTI3_IRQn);

}

void StartDefaultTask(void *argument)
{
  for(;;)
  {
    osDelay(1);
  }
}

/* USER CODE BEGIN Header_Task1_func */
/**
* @brief Function implementing the Task1 thread.
* @param argument: Not used
* @retval None
*/
extern void init_dotmatrix(void);
/* USER CODE END Header_Task1_func */
void Task1_func(void *argument)
{
  /* USER CODE BEGIN Task1_func */
//	init_dotmatrix();
  /* Infinite loop */
  for(;;)
  {
	dotmatrix_main_test();	//
    osDelay(1);
  }
  /* USER CODE END Task1_func */
}

void Task2_func(void *argument)
{
  /* USER CODE BEGIN Task2_func */
  /* Infinite loop */
  for(;;)
  {
	stepmotor_main_test();
    osDelay(1);
  }
  /* USER CODE END Task2_func */
}

void Task3_func(void *argument)
{
  /* USER CODE BEGIN Task3_func */
  /* Infinite loop */
  for(;;)
  {
	pc_command_processing();
	bt_command_processing();
    osDelay(1);
  }
  /* USER CODE END Task3_func */
}

void HAL_TIM_PeriodElapsedCallback(TIM_HandleTypeDef *htim)
{
  if (htim->Instance == TIM6) {
    HAL_IncTick();
  }
	if (htim->Instance == TIM10)
	{
		TIM10_10ms_counter++;  // 10ms timer counter
		TIM10_10ms_ultrasonic++;  // ultrasonic trigger timer
	}
}

void Error_Handler(void)
{
  __disable_irq();
  while (1)
  {
  }
}
